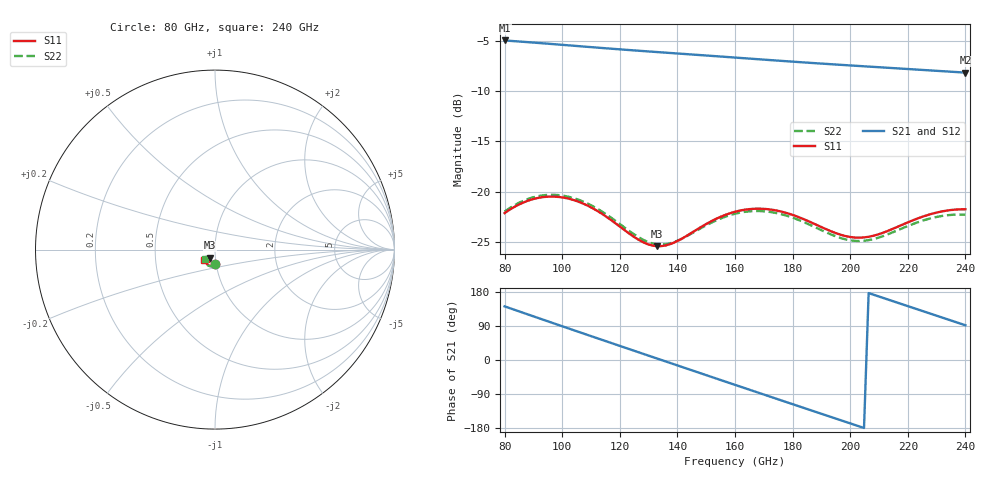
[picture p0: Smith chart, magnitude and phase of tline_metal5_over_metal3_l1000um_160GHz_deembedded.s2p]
! Created with skrf 2.2.0 (http://scikit-rf.org).
# GHz S DB R 50.0
! Port[1] = P1
! Port[2] = P2
!freq dBS11 angS11 dBS21 angS21 dBS12 angS12 dBS22 angS22
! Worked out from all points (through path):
!   101 points, 80 GHz to 240 GHz, reference 50 ohm
!   highest |S21| = -4.98 dB at 80 GHz (marker M1); lowest = -8.2 dB at 240 GHz (marker M2)
!   group delay of S21, straight-line fit = 7.11 ps
!   lowest |S11| = -25.4 dB at 132.8 GHz (marker M3), VSWR 1.11, Z = 47 - j4.24 ohm
!   |S11| at or under -10 dB: start of sweep to end of sweep
!   |S22| runs from -25.2 to -20.3 dB; largest |S21 - S12| = 6.5e-14
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80  -22.10 -92.0  -4.98 141.5  -4.98 141.5  -21.95 -89.6
88  -20.88 -99.4  -5.14 120.5  -5.14 120.5  -20.71 -97.7
94.4  -20.49 -107.9  -5.28 103.7  -5.28 103.7  -20.31 -106.5
100.8  -20.58 -116.8  -5.43 87.0  -5.43 87.0  -20.40 -115.7
107.2  -21.15 -124.9  -5.58 70.3  -5.58 70.3  -20.95 -124.1
120  -23.44 -133.5  -5.86 37.2  -5.86 37.2  -23.19 -133.6
126.4  -24.73 -130.8  -5.99 20.7  -5.99 20.7  -24.47 -131.7
132.8  -25.38 -123.2  -6.12 4.3  -6.12 4.3  -25.20 -124.9
134.4  -25.38 -121.0  -6.16 0.1  -6.16 0.1  -25.23 -122.9
145.6  -23.94 -111.9  -6.38 -28.6  -6.38 -28.6  -24.02 -114.0
153.6  -22.65 -114.2  -6.54 -49.2  -6.54 -49.2  -22.81 -116.0
160  -21.97 -119.0  -6.67 -65.6  -6.67 -65.6  -22.17 -120.7
166.4  -21.68 -125.0  -6.81 -81.9  -6.81 -81.9  -21.90 -126.5
172.8  -21.77 -131.1  -6.94 -98.2  -6.94 -98.2  -22.02 -132.5
179.2  -22.21 -136.1  -7.06 -114.5  -7.06 -114.5  -22.48 -137.4
187.2  -23.12 -139.4  -7.22 -134.8  -7.22 -134.8  -23.43 -140.7
195.2  -24.11 -137.9  -7.37 -155.1  -7.37 -155.1  -24.43 -139.1
201.6  -24.53 -133.4  -7.48 -171.3  -7.48 -171.3  -24.86 -134.4
208  -24.36 -128.2  -7.60 172.5  -7.60 172.5  -24.69 -129.3
214.4  -23.71 -125.1  -7.71 156.3  -7.71 156.3  -24.05 -126.2
227.2  -22.27 -127.4  -7.94 124.0  -7.94 124.0  -22.68 -128.8
240  -21.72 -135.8  -8.17 91.7  -8.17 91.7  -22.27 -137.3
